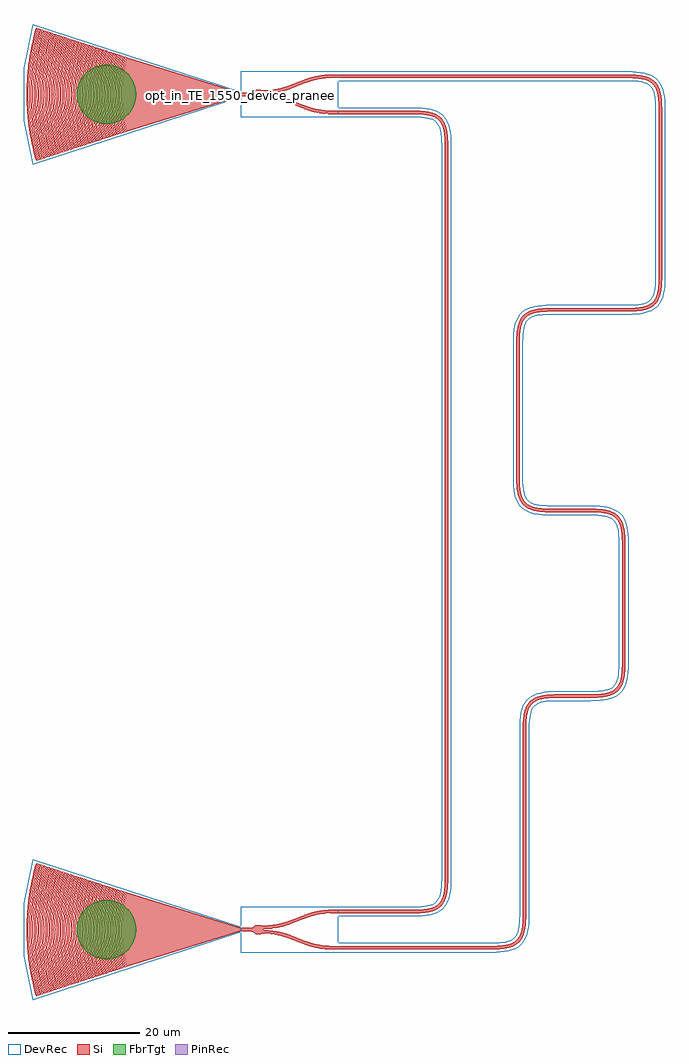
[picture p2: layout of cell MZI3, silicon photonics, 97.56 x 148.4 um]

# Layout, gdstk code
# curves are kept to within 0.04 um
import gdstk
lib = gdstk.Library(unit=1e-6, precision=1e-09)
def R(c, l, rs):  # rectangles x0, y0, x1, y1
    for r in rs: c.add(gdstk.rectangle(r[:2], r[2:], *l))
def P(c, l, *ps):  # polygons
    for p in ps: c.add(gdstk.Polygon(p, *l))
Si = (1, 0)
PinRec = (1, 10)
DevRec = (68, 0)
FbrTgt = (81, 0)

te1550_subgc_neg31_oxide = lib.new_cell('TE1550_SubGC_neg31_oxide')
P(te1550_subgc_neg31_oxide, Si, [(-17.556,-5.704),(-17.743,-4.914),(-17.881,-4.233),(-18.016,-3.437),(-18.095,-2.866),(-18.165,-2.237),(-18.222,-1.549),(-18.256,-0.918),(-18.274,-0.115),(-18.264,0.689),(-18.233,1.377),(-18.176,2.122),(-18.095,2.866),(-18.016,3.437),(-17.881,4.233),(-17.743,4.914),(-17.556,5.704),(-17.481,5.68),(-17.643,5.006),(-17.784,4.329),(-17.922,3.536),(-18.032,2.74),(-18.104,2.056),(-18.148,1.486),(-18.186,0.686),(-18.196,0.114),(-18.189,-0.572),(-18.165,-1.2),(-18.123,-1.828),(-18.058,-2.512),(-17.948,-3.365),(-17.826,-4.102),(-17.668,-4.893),(-17.481,-5.68)],
  [(-17.906,-5.818),(-18.207,-4.492),(-18.452,-2.982),(-18.601,-1.405),(-18.643,-0.117),(-18.601,1.405),(-18.452,2.982),(-18.207,4.492),(-17.906,5.818),(-17.659,5.738),(-17.932,4.544),(-18.188,2.998),(-18.338,1.443),(-18.383,0.116),(-18.338,-1.443),(-18.188,-2.998),(-17.932,-4.544),(-17.659,-5.738)],
  [(-18.084,-5.876),(-18.24,-5.237),(-18.4,-4.479),(-18.525,-3.776),(-18.629,-3.071),(-18.717,-2.305),(-18.772,-1.656),(-18.811,-0.946),(-18.83,-0.118),(-18.823,0.592),(-18.791,1.36),(-18.739,2.069),(-18.644,2.953),(-18.544,3.658),(-18.4,4.479),(-18.24,5.237),(-18.084,5.876),(-18.01,5.852),(-18.204,5.041),(-18.368,4.227),(-18.503,3.409),(-18.609,2.589),(-18.713,1.354),(-18.745,0.589),(-18.752,0.118),(-18.745,-0.589),(-18.713,-1.354),(-18.609,-2.589),(-18.503,-3.409),(-18.368,-4.227),(-18.204,-5.041),(-18.01,-5.852)],
  [(-18.435,-5.99),(-18.77,-4.506),(-19.001,-3.071),(-19.135,-1.748),(-19.199,-0.121),(-19.159,1.387),(-19.001,3.071),(-18.77,4.506),(-18.435,5.99),(-18.188,5.91),(-18.517,4.445),(-18.744,3.029),(-18.896,1.427),(-18.939,0.119),(-18.896,-1.427),(-18.759,-2.911),(-18.517,-4.445),(-18.188,-5.91)],
  [(-18.613,-6.048),(-18.815,-5.211),(-18.963,-4.49),(-19.099,-3.705),(-19.201,-2.979),(-19.269,-2.373),(-19.338,-1.522),(-19.369,-0.913),(-19.386,-0.122),(-19.377,0.67),(-19.349,1.339),(-19.286,2.191),(-19.201,2.979),(-19.099,3.705),(-18.963,4.49),(-18.815,5.211),(-18.613,6.048),(-18.539,6.024),(-18.713,5.309),(-18.876,4.532),(-19.013,3.751),(-19.131,2.907),(-19.203,2.242),(-19.264,1.455),(-19.291,0.91),(-19.308,0.121),(-19.299,-0.667),(-19.271,-1.334),(-19.239,-1.819),(-19.166,-2.605),(-19.076,-3.329),(-18.91,-4.352),(-18.753,-5.13),(-18.539,-6.024)],
  [(-18.964,-6.162),(-19.262,-4.881),(-19.533,-3.283),(-19.689,-1.799),(-19.755,-0.124),(-19.717,1.365),(-19.573,2.974),(-19.334,4.513),(-18.964,6.162),(-18.717,6.081),(-19.046,4.636),(-19.301,3.057),(-19.43,1.775),(-19.495,0.122),(-19.454,-1.408),(-19.301,-3.057),(-19.046,-4.636),(-18.717,-6.081)],
  [(-19.142,-6.22),(-19.337,-5.421),(-19.48,-4.742),(-19.625,-3.936),(-19.726,-3.251),(-19.808,-2.566),(-19.884,-1.691),(-19.924,-0.94),(-19.942,-0.125),(-19.934,0.626),(-19.9,1.44),(-19.833,2.316),(-19.758,3.002),(-19.635,3.874),(-19.516,4.556),(-19.337,5.421),(-19.142,6.22),(-19.068,6.195),(-19.289,5.277),(-19.44,4.538),(-19.587,3.673),(-19.696,2.866),(-19.772,2.12),(-19.822,1.435),(-19.853,0.749),(-19.864,0.125),(-19.853,-0.749),(-19.822,-1.435),(-19.772,-2.12),(-19.696,-2.866),(-19.587,-3.673),(-19.44,-4.538),(-19.289,-5.277),(-19.068,-6.195)],
  [(-19.493,-6.334),(-19.839,-4.829),(-20.107,-3.185),(-20.256,-1.658),(-20.311,-0.128),(-20.268,1.467),(-20.107,3.185),(-19.839,4.829),(-19.493,6.334),(-19.246,6.253),(-19.574,4.829),(-19.842,3.207),(-19.997,1.637),(-20.051,0.126),(-20.005,-1.511),(-19.866,-3.019),(-19.622,-4.581),(-19.246,-6.253)],
  [(-19.671,-6.391),(-19.843,-5.697),(-20.008,-4.937),(-20.149,-4.173),(-20.283,-3.278),(-20.379,-2.444),(-20.438,-1.738),(-20.482,-0.901),(-20.498,-0.129),(-20.482,0.901),(-20.438,1.738),(-20.379,2.444),(-20.283,3.278),(-20.149,4.173),(-20.008,4.937),(-19.843,5.697),(-19.671,6.391),(-19.597,6.367),(-19.797,5.55),(-20.005,4.538),(-20.153,3.648),(-20.246,2.946),(-20.325,2.179),(-20.373,1.539),(-20.404,0.898),(-20.42,0.128),(-20.412,-0.641),(-20.384,-1.347),(-20.336,-2.051),(-20.261,-2.819),(-20.153,-3.648),(-20.017,-4.474),(-19.825,-5.424),(-19.597,-6.367)],
  [(-20.022,-6.505),(-20.392,-4.896),(-20.656,-3.272),(-20.81,-1.704),(-20.867,-0.131),(-20.81,1.704),(-20.656,3.272),(-20.392,4.896),(-20.022,6.505),(-19.774,6.425),(-20.139,4.835),(-20.382,3.36),(-20.542,1.812),(-20.607,0.129),(-20.567,-1.424),(-20.399,-3.231),(-20.139,-4.835),(-19.774,-6.425)],
  [(-20.199,-6.563),(-20.437,-5.591),(-20.599,-4.809),(-20.726,-4.089),(-20.832,-3.367),(-20.931,-2.511),(-20.992,-1.785),(-21.04,-0.86),(-21.054,-0.132),(-21.044,0.728),(-21.001,1.653),(-20.931,2.511),(-20.849,3.235),(-20.726,4.089),(-20.599,4.809),(-20.437,5.591),(-20.199,6.563),(-20.125,6.539),(-20.347,5.635),(-20.523,4.791),(-20.67,3.943),(-20.804,2.961),(-20.878,2.239),(-20.923,1.647),(-20.962,0.857),(-20.976,0.132),(-20.966,-0.725),(-20.935,-1.449),(-20.878,-2.239),(-20.804,-2.961),(-20.67,-3.943),(-20.523,-4.791),(-20.347,-5.635),(-20.125,-6.539)],
  [(-20.55,-6.677),(-20.906,-5.158),(-21.205,-3.359),(-21.355,-1.883),(-21.423,-0.135),(-21.373,1.615),(-21.205,3.359),(-20.906,5.158),(-20.55,6.677),(-20.303,6.597),(-20.705,4.833),(-20.957,3.252),(-21.105,1.728),(-21.163,0.133),(-21.105,-1.728),(-20.957,-3.252),(-20.705,-4.833),(-20.303,-6.597)],
  [(-20.728,-6.735),(-20.912,-6.004),(-21.101,-5.136),(-21.249,-4.331),(-21.372,-3.523),(-21.483,-2.577),(-21.546,-1.832),(-21.593,-0.95),(-21.61,-0.136),(-21.593,0.95),(-21.555,1.696),(-21.483,2.577),(-21.39,3.388),(-21.249,4.331),(-21.101,5.136),(-20.912,6.004),(-20.728,6.735),(-20.654,6.711),(-20.868,5.85),(-21.025,5.118),(-21.195,4.181),(-21.33,3.241),(-21.412,2.5),(-21.473,1.758),(-21.515,0.947),(-21.532,0.135),(-21.525,-0.609),(-21.497,-1.352),(-21.448,-2.095),(-21.37,-2.904),(-21.237,-3.913),(-21.077,-4.85),(-20.868,-5.85),(-20.654,-6.711)],
  [(-21.079,-6.849),(-21.432,-5.359),(-21.736,-3.583),(-21.923,-1.725),(-21.979,-0.138),(-21.923,1.725),(-21.772,3.308),(-21.473,5.155),(-21.079,6.849),(-20.832,6.769),(-21.207,5.162),(-21.47,3.608),(-21.664,1.705),(-21.719,0.136),(-21.664,-1.705),(-21.515,-3.269),(-21.207,-5.162),(-20.832,-6.769)],
  [(-21.257,-6.907),(-21.494,-5.953),(-21.655,-5.199),(-21.817,-4.304),(-21.93,-3.544),(-22.042,-2.574),(-22.105,-1.81),(-22.146,-1.044),(-22.166,-0.139),(-22.159,0.627),(-22.114,1.67),(-22.042,2.574),(-21.957,3.336),(-21.817,4.304),(-21.655,5.199),(-21.494,5.953),(-21.257,6.907),(-21.183,6.883),(-21.419,5.932),(-21.606,5.044),(-21.773,4.083),(-21.888,3.256),(-21.971,2.495),(-22.036,1.665),(-22.073,0.902),(-22.088,0.139),(-22.081,-0.624),(-22.052,-1.387),(-22.001,-2.149),(-21.905,-3.117),(-21.773,-4.083),(-21.606,-5.044),(-21.419,-5.932),(-21.183,-6.883)],
  [(-21.608,-7.021),(-21.985,-5.425),(-22.294,-3.603),(-22.482,-1.698),(-22.535,-0.142),(-22.482,1.698),(-22.294,3.603),(-21.985,5.425),(-21.608,7.021),(-21.361,6.941),(-21.761,5.224),(-22.028,3.631),(-22.218,1.749),(-22.275,0.14),(-22.227,-1.609),(-22.073,-3.283),(-21.788,-5.086),(-21.361,-6.941)],
  [(-21.786,-7.079),(-21.964,-6.381),(-22.167,-5.469),(-22.302,-4.765),(-22.469,-3.704),(-22.565,-2.923),(-22.649,-1.997),(-22.704,-0.999),(-22.722,-0.143),(-22.713,0.714),(-22.677,1.57),(-22.601,2.567),(-22.488,3.562),(-22.374,4.341),(-22.195,5.329),(-22.03,6.101),(-21.786,7.079),(-21.712,7.055),(-21.922,6.22),(-22.161,5.1),(-22.308,4.256),(-22.447,3.267),(-22.53,2.487),(-22.586,1.778),(-22.626,0.996),(-22.644,0.142),(-22.635,-0.711),(-22.595,-1.635),(-22.53,-2.487),(-22.447,-3.267),(-22.308,-4.256),(-22.161,-5.1),(-21.922,-6.22),(-21.712,-7.055)],
  [(-22.137,-7.193),(-22.54,-5.486),(-22.843,-3.692),(-23.011,-2.102),(-23.091,-0.145),(-23.045,1.595),(-22.862,3.547),(-22.54,5.486),(-22.137,7.193),(-21.89,7.112),(-22.287,5.425),(-22.596,3.579),(-22.777,1.721),(-22.831,0.143),(-22.777,-1.721),(-22.596,-3.579),(-22.287,-5.425),(-21.89,-7.112)],
  [(-22.315,-7.25),(-22.549,-6.321),(-22.736,-5.458),(-22.895,-4.592),(-23.047,-3.576),(-23.139,-2.776),(-23.218,-1.827),(-23.262,-0.951),(-23.278,-0.146),(-23.262,0.951),(-23.218,1.827),(-23.139,2.776),(-23.047,3.576),(-22.895,4.592),(-22.736,5.458),(-22.549,6.321),(-22.315,7.25),(-22.24,7.226),(-22.457,6.372),(-22.646,5.512),(-22.843,4.432),(-22.979,3.492),(-23.076,2.621),(-23.145,1.748),(-23.184,0.947),(-23.2,0.146),(-23.194,-0.583),(-23.158,-1.53),(-23.102,-2.33),(-23.006,-3.274),(-22.899,-4.071),(-22.73,-5.081),(-22.507,-6.157),(-22.24,-7.226)],
  [(-22.666,-7.364),(-23.095,-5.545),(-23.392,-3.78),(-23.581,-1.93),(-23.647,-0.149),(-23.586,1.856),(-23.421,3.559),(-23.095,5.545),(-22.666,7.364),(-22.418,7.284),(-22.842,5.484),(-23.145,3.666),(-23.311,2.056),(-23.387,0.147),(-23.336,-1.689),(-23.145,-3.666),(-22.842,-5.484),(-22.418,-7.284)],
  [(-22.843,-7.422),(-23.067,-6.545),(-23.262,-5.662),(-23.441,-4.701),(-23.556,-3.959),(-23.691,-2.842),(-23.762,-2.02),(-23.815,-1.048),(-23.834,-0.15),(-23.82,0.898),(-23.782,1.721),(-23.713,2.618),(-23.606,3.587),(-23.441,4.701),(-23.277,5.588),(-23.067,6.545),(-22.843,7.422),(-22.769,7.398),(-22.992,6.523),(-23.201,5.57),(-23.389,4.538),(-23.538,3.501),(-23.642,2.535),(-23.704,1.716),(-23.742,0.895),(-23.756,0.149),(-23.742,-0.895),(-23.704,-1.716),(-23.642,-2.535),(-23.565,-3.278),(-23.401,-4.464),(-23.23,-5.423),(-22.992,-6.523),(-22.769,-7.398)],
  [(-23.194,-7.536),(-23.605,-5.824),(-23.951,-3.793),(-24.135,-1.976),(-24.203,-0.152),(-24.15,1.748),(-23.961,3.718),(-23.605,5.824),(-23.194,7.536),(-22.947,7.456),(-23.368,5.688),(-23.684,3.827),(-23.876,1.955),(-23.943,0.15),(-23.886,-1.804),(-23.704,-3.678),(-23.383,-5.614),(-22.947,-7.456)],
  [(-23.372,-7.594),(-23.602,-6.696),(-23.802,-5.793),(-23.96,-4.962),(-24.115,-3.975),(-24.219,-3.137),(-24.316,-2.067),(-24.373,-0.996),(-24.39,-0.153),(-24.373,0.996),(-24.316,2.067),(-24.219,3.137),(-24.115,3.975),(-23.96,4.962),(-23.802,5.793),(-23.602,6.696),(-23.372,7.594),(-23.298,7.57),(-23.562,6.525),(-23.801,5.399),(-23.971,4.417),(-24.088,3.583),(-24.188,2.67),(-24.249,1.908),(-24.295,0.993),(-24.312,0.153),(-24.3,-0.84),(-24.263,-1.68),(-24.195,-2.594),(-24.088,-3.583),(-23.971,-4.417),(-23.801,-5.399),(-23.562,-6.525),(-23.298,-7.57)],
  [(-23.723,-7.708),(-24.145,-5.957),(-24.479,-4.035),(-24.678,-2.176),(-24.759,-0.156),(-24.709,1.71),(-24.5,3.88),(-24.145,5.957),(-23.723,7.708),(-23.476,7.628),(-23.908,5.819),(-24.233,3.916),(-24.43,2),(-24.499,0.154),(-24.43,-2),(-24.233,-3.916),(-23.908,-5.819),(-23.476,-7.628)],
  [(-23.901,-7.766),(-24.137,-6.848),(-24.358,-5.848),(-24.518,-4.997),(-24.674,-3.987),(-24.779,-3.13),(-24.87,-2.115),(-24.916,-1.332),(-24.946,-0.157),(-24.931,0.94),(-24.891,1.802),(-24.803,2.896),(-24.695,3.832),(-24.531,4.92),(-24.358,5.848),(-24.137,6.848),(-23.901,7.766),(-23.827,7.742),(-24.098,6.674),(-24.313,5.676),(-24.493,4.672),(-24.638,3.665),(-24.733,2.809),(-24.803,1.952),(-24.848,1.094),(-24.868,0.156),(-24.858,-0.781),(-24.818,-1.718),(-24.733,-2.809),(-24.638,-3.665),(-24.493,-4.672),(-24.313,-5.676),(-24.098,-6.674),(-23.827,-7.742)],
  [(-24.252,-7.88),(-24.717,-5.934),(-25.049,-3.967),(-25.232,-2.225),(-25.315,-0.159),(-25.259,1.828),(-25.07,3.809),(-24.717,5.934),(-24.252,7.88),(-24.005,7.8),(-24.464,5.873),(-24.782,4.005),(-24.973,2.202),(-25.055,0.157),(-25.009,-1.652),(-24.803,-3.848),(-24.464,-5.873),(-24.005,-7.8)],
  [(-24.43,-7.938),(-24.709,-6.843),(-24.866,-6.135),(-25.049,-5.187),(-25.234,-3.997),(-25.339,-3.12),(-25.424,-2.162),(-25.478,-1.202),(-25.502,-0.16),(-25.489,0.881),(-25.435,2.002),(-25.339,3.12),(-25.234,3.997),(-25.049,5.187),(-24.866,6.135),(-24.709,6.843),(-24.43,7.938),(-24.356,7.914),(-24.634,6.822),(-24.839,5.881),(-25,5.014),(-25.178,3.826),(-25.278,2.952),(-25.352,2.075),(-25.397,1.278),(-25.424,0.16),(-25.409,-0.958),(-25.377,-1.677),(-25.293,-2.792),(-25.198,-3.667),(-25.052,-4.697),(-24.839,-5.881),(-24.634,-6.822),(-24.356,-7.914)],
  [(-24.781,-8.052),(-25.241,-6.144),(-25.576,-4.216),(-25.803,-2.031),(-25.871,-0.163),(-25.803,2.031),(-25.609,3.974),(-25.274,5.984),(-24.781,8.052),(-24.533,7.971),(-24.972,6.161),(-25.308,4.253),(-25.544,2.01),(-25.611,0.161),(-25.544,-2.01),(-25.352,-3.934),(-25.021,-5.924),(-24.533,-7.971)],
  [(-24.959,-8.11),(-25.187,-7.232),(-25.423,-6.188),(-25.635,-5.057),(-25.772,-4.165),(-25.891,-3.188),(-25.984,-2.127),(-26.03,-1.31),(-26.058,-0.164),(-26.045,0.9),(-25.995,1.964),(-25.891,3.188),(-25.794,4.002),(-25.635,5.057),(-25.423,6.188),(-25.187,7.232),(-24.959,8.11),(-24.884,8.085),(-25.15,7.051),(-25.38,6.009),(-25.572,4.961),(-25.738,3.828),(-25.846,2.853),(-25.917,1.958),(-25.967,0.898),(-25.98,0.163),(-25.967,-0.898),(-25.932,-1.713),(-25.868,-2.609),(-25.768,-3.585),(-25.624,-4.638),(-25.412,-5.848),(-25.207,-6.811),(-24.884,-8.085)],
  [(-25.31,-8.224),(-25.815,-6.112),(-26.136,-4.224),(-26.357,-2.074),(-26.427,-0.166),(-26.368,1.909),(-26.18,3.894),(-25.815,6.112),(-25.31,8.224),(-25.062,8.143),(-25.512,6.295),(-25.868,4.264),(-26.098,2.054),(-26.167,0.164),(-26.123,-1.644),(-25.923,-3.856),(-25.562,-6.052),(-25.062,-8.143)],
  [(-25.487,-8.281),(-25.761,-7.222),(-25.946,-6.402),(-26.152,-5.33),(-26.321,-4.254),(-26.451,-3.173),(-26.532,-2.256),(-26.589,-1.254),(-26.614,-0.167),(-26.598,1.003),(-26.538,2.172),(-26.451,3.173),(-26.321,4.254),(-26.152,5.33),(-25.946,6.402),(-25.761,7.222),(-25.487,8.281),(-25.413,8.257),(-25.686,7.201),(-25.921,6.137),(-26.118,5.067),(-26.288,3.91),(-26.374,3.164),(-26.466,2.083),(-26.511,1.25),(-26.536,0.167),(-26.525,-0.834),(-26.482,-1.833),(-26.406,-2.831),(-26.288,-3.91),(-26.118,-5.067),(-25.921,-6.137),(-25.686,-7.201),(-25.413,-8.257)],
  [(-25.838,-8.395),(-26.339,-6.323),(-26.685,-4.312),(-26.887,-2.456),(-26.983,-0.17),(-26.917,2.033),(-26.708,4.144),(-26.356,6.24),(-25.838,8.395),(-25.591,8.315),(-26.086,6.263),(-26.44,4.188),(-26.658,2.014),(-26.723,0.168),(-26.658,-2.014),(-26.44,-4.188),(-26.086,-6.263),(-25.591,-8.315)],
  [(-26.016,-8.453),(-26.256,-7.539),(-26.503,-6.451),(-26.697,-5.441),(-26.858,-4.427),(-26.976,-3.494),(-27.086,-2.303),(-27.144,-1.28),(-27.17,-0.085),(-27.156,0.939),(-27.098,2.133),(-27.012,3.154),(-26.893,4.173),(-26.726,5.272),(-26.538,6.283),(-26.256,7.539),(-26.016,8.453),(-25.942,8.429),(-26.261,7.184),(-26.479,6.181),(-26.664,5.173),(-26.838,3.992),(-26.943,3.06),(-27.026,2.042),(-27.078,0.936),(-27.092,0.085),(-27.078,-0.936),(-27.026,-2.042),(-26.943,-3.06),(-26.838,-3.992),(-26.664,-5.173),(-26.479,-6.181),(-26.261,-7.184),(-25.942,-8.429)],
  [(-26.367,-8.567),(-26.897,-6.368),(-27.246,-4.315),(-27.466,-2.162),(-27.539,-0.087),(-27.466,2.162),(-27.246,4.315),(-26.897,6.368),(-26.367,8.567),(-26.12,8.487),(-26.644,6.308),(-26.989,4.275),(-27.218,1.97),(-27.279,0.086),(-27.218,-1.97),(-26.989,-4.275),(-26.644,-6.308),(-26.12,-8.487)],
  [(-26.545,-8.625),(-26.832,-7.522),(-27.079,-6.411),(-27.286,-5.294),(-27.442,-4.258),(-27.573,-3.132),(-27.658,-2.089),(-27.712,-0.958),(-27.726,-0.087),(-27.712,0.958),(-27.658,2.089),(-27.573,3.132),(-27.442,4.258),(-27.286,5.294),(-27.079,6.411),(-26.832,7.522),(-26.545,8.625),(-26.471,8.601),(-26.777,7.416),(-27.003,6.393),(-27.195,5.365),(-27.365,4.246),(-27.487,3.209),(-27.586,1.997),(-27.634,0.955),(-27.648,0.087),(-27.634,-0.955),(-27.586,-1.997),(-27.52,-2.863),(-27.42,-3.815),(-27.265,-4.935),(-27.071,-6.051),(-26.817,-7.246),(-26.63,-8.01),(-26.471,-8.601)],
  [(-26.896,-8.739),(-27.402,-6.67),(-27.783,-4.49),(-28.014,-2.293),(-28.095,-0.088),(-28.026,2.117),(-27.807,4.315),(-27.438,6.496),(-26.896,8.739),(-26.649,8.659),(-27.185,6.436),(-27.55,4.275),(-27.761,2.185),(-27.835,0.087),(-27.761,-2.185),(-27.55,-4.275),(-27.185,-6.436),(-26.649,-8.659)],
  [(-27.074,-8.797),(-27.346,-7.759),(-27.602,-6.627),(-27.802,-5.576),(-27.955,-4.608),(-28.098,-3.46),(-28.194,-2.397),(-28.255,-1.332),(-28.282,-0.089),(-28.265,1.066),(-28.218,2.042),(-28.134,3.106),(-28.015,4.167),(-27.832,5.4),(-27.62,6.539),(-27.346,7.759),(-27.074,8.797),(-27,8.773),(-27.292,7.651),(-27.544,6.521),(-27.77,5.297),(-27.949,4.067),(-28.048,3.186),(-28.129,2.214),(-28.184,1.152),(-28.204,0.089),(-28.187,-1.063),(-28.146,-1.948),(-28.073,-2.921),(-27.949,-4.067),(-27.77,-5.297),(-27.544,-6.521),(-27.292,-7.651),(-27,-8.773)],
  [(-27.425,-8.911),(-27.979,-6.624),(-28.344,-4.489),(-28.568,-2.339),(-28.651,-0.09),(-28.568,2.339),(-28.344,4.489),(-27.979,6.624),(-27.425,8.911),(-27.177,8.83),(-27.708,6.652),(-28.075,4.537),(-28.309,2.317),(-28.391,0.089),(-28.309,-2.317),(-28.075,-4.537),(-27.708,-6.652),(-27.177,-8.83)],
  [(-27.603,-8.969),(-27.881,-7.91),(-28.124,-6.845),(-28.347,-5.685),(-28.529,-4.518),(-28.678,-3.257),(-28.761,-2.264),(-28.814,-1.268),(-28.838,-0.091),(-28.826,0.906),(-28.761,2.264),(-28.678,3.257),(-28.529,4.518),(-28.347,5.685),(-28.124,6.845),(-27.881,7.91),(-27.603,8.969),(-27.528,8.944),(-27.806,7.889),(-28.085,6.649),(-28.316,5.402),(-28.476,4.327),(-28.582,3.428),(-28.677,2.348),(-28.736,1.265),(-28.76,0.09),(-28.748,-0.903),(-28.695,-2.077),(-28.609,-3.158),(-28.499,-4.147),(-28.331,-5.312),(-28.121,-6.472),(-27.87,-7.624),(-27.528,-8.944)],
  [(-27.953,-9.083),(-28.52,-6.752),(-28.893,-4.576),(-29.135,-2.201),(-29.207,-0.092),(-29.135,2.201),(-28.918,4.394),(-28.52,6.752),(-27.953,9.083),(-27.706,9.002),(-28.23,6.871),(-28.624,4.626),(-28.863,2.363),(-28.947,0.091),(-28.887,-2),(-28.649,-4.445),(-28.23,-6.871),(-27.706,-9.002)],
  [(-28.131,-9.14),(-28.416,-8.062),(-28.645,-7.068),(-28.86,-5.977),(-29.078,-4.605),(-29.221,-3.412),(-29.315,-2.307),(-29.373,-1.2),(-29.394,-0.092),(-29.373,1.2),(-29.315,2.307),(-29.221,3.412),(-29.078,4.605),(-28.86,5.977),(-28.645,7.068),(-28.416,8.062),(-28.131,9.14),(-28.057,9.116),(-28.363,7.951),(-28.663,6.596),(-28.892,5.323),(-29.061,4.136),(-29.179,3.036),(-29.255,2.025),(-29.301,1.013),(-29.316,0.092),(-29.301,-1.013),(-29.255,-2.025),(-29.179,-3.036),(-29.061,-4.136),(-28.892,-5.323),(-28.663,-6.596),(-28.363,-7.951),(-28.057,-9.116)],
  [(-28.482,-9.254),(-29.003,-7.156),(-29.416,-4.849),(-29.683,-2.336),(-29.763,-0.094),(-29.683,2.336),(-29.455,4.57),(-29.042,6.972),(-28.482,9.254),(-28.235,9.174),(-28.77,7.003),(-29.173,4.714),(-29.424,2.316),(-29.503,0.093),(-29.424,-2.316),(-29.173,-4.714),(-28.77,-7.003),(-28.235,-9.174)],
  [(-28.66,-9.312),(-28.928,-8.306),(-29.224,-7.016),(-29.421,-5.996),(-29.601,-4.879),(-29.733,-3.851),(-29.863,-2.445),(-29.925,-1.317),(-29.95,-0.094),(-29.937,0.941),(-29.882,2.163),(-29.792,3.289),(-29.64,4.599),(-29.437,5.904),(-29.224,7.016),(-28.928,8.306),(-28.66,9.312),(-28.586,9.288),(-28.898,8.101),(-29.148,6.998),(-29.393,5.703),(-29.563,4.587),(-29.696,3.467),(-29.798,2.251),(-29.847,1.314),(-29.872,0.094),(-29.862,-0.845),(-29.798,-2.251),(-29.696,-3.467),(-29.563,-4.587),(-29.393,-5.703),(-29.148,-6.998),(-28.898,-8.101),(-28.586,-9.288)],
  [(-29.011,-9.426),(-29.563,-7.196),(-29.965,-4.939),(-30.237,-2.38),(-30.319,-0.095),(-30.25,2.19),(-30.017,4.561),(-29.602,7.008),(-29.011,9.426),(-28.764,9.346),(-29.33,7.041),(-29.735,4.709),(-29.978,2.359),(-30.059,0.094),(-29.978,-2.359),(-29.735,-4.709),(-29.33,-7.041),(-28.764,-9.346)],
  [(-29.189,-9.484),(-29.554,-8.085),(-29.784,-7.052),(-29.999,-5.918),(-30.163,-4.874),(-30.295,-3.827),(-30.417,-2.49),(-30.484,-1.246),(-30.506,-0.096),(-30.484,1.246),(-30.417,2.49),(-30.295,3.827),(-30.163,4.874),(-29.999,5.918),(-29.784,7.052),(-29.554,8.085),(-29.189,9.484),(-29.115,9.46),(-29.456,8.158),(-29.708,7.034),(-29.97,5.62),(-30.125,4.577),(-30.248,3.532),(-30.346,2.388),(-30.406,1.242),(-30.428,0.096),(-30.406,-1.242),(-30.346,-2.388),(-30.248,-3.532),(-30.125,-4.577),(-29.97,-5.62),(-29.708,-7.034),(-29.456,-8.158),(-29.115,-9.46)],
  [(-29.54,-9.598),(-30.143,-7.137),(-30.554,-4.741),(-30.798,-2.327),(-30.875,-0.097),(-30.798,2.327),(-30.554,4.741),(-30.143,7.137),(-29.54,9.598),(-29.293,9.518),(-29.89,7.077),(-30.284,4.796),(-30.539,2.307),(-30.615,0.096),(-30.539,-2.307),(-30.284,-4.796),(-29.89,-7.077),(-29.293,-9.518)],
  [(-29.718,-9.656),(-29.997,-8.613),(-30.285,-7.371),(-30.493,-6.315),(-30.712,-4.963),(-30.857,-3.8),(-30.964,-2.633),(-31.036,-1.366),(-31.062,-0.098),(-31.046,1.073),(-30.991,2.243),(-30.897,3.411),(-30.752,4.673),(-30.561,5.929),(-30.345,7.084),(-30.044,8.422),(-29.718,9.656),(-29.643,9.632),(-29.969,8.401),(-30.269,7.066),(-30.501,5.818),(-30.7,4.468),(-30.829,3.306),(-30.907,2.335),(-30.965,1.168),(-30.984,0.097),(-30.965,-1.168),(-30.907,-2.335),(-30.829,-3.306),(-30.7,-4.468),(-30.501,-5.818),(-30.269,-7.066),(-29.969,-8.401),(-29.643,-9.632)],
  [(-30.069,-9.77),(-30.664,-7.362),(-31.09,-4.924),(-31.346,-2.467),(-31.431,-0.099),(-31.346,2.467),(-31.09,4.924),(-30.664,7.362),(-30.069,9.77),(-29.821,9.69),(-30.411,7.301),(-30.833,4.883),(-31.093,2.349),(-31.171,0.098),(-31.093,-2.349),(-30.833,-4.883),(-30.411,-7.301),(-29.821,-9.69)],
  [(-30.246,-9.828),(-30.603,-8.475),(-30.866,-7.308),(-31.107,-6.035),(-31.288,-4.855),(-31.43,-3.67),(-31.539,-2.382),(-31.595,-1.291),(-31.618,-0.099),(-31.595,1.291),(-31.539,2.382),(-31.43,3.67),(-31.288,4.855),(-31.107,6.035),(-30.866,7.308),(-30.603,8.475),(-30.246,9.828),(-30.172,9.804),(-30.528,8.455),(-30.77,7.387),(-30.907,6.705),(-31.047,5.922),(-31.211,4.843),(-31.342,3.759),(-31.461,2.377),(-31.517,1.288),(-31.54,0.099),(-31.529,-0.892),(-31.474,-2.179),(-31.391,-3.266),(-31.25,-4.548),(-31.047,-5.922),(-30.83,-7.095),(-30.528,-8.455),(-30.172,-9.804)],
  [(-30.597,-9.942),(-31.225,-7.393),(-31.625,-5.111),(-31.893,-2.611),(-31.987,-0.1),(-31.907,2.41),(-31.653,4.911),(-31.225,7.393),(-30.597,9.942),(-30.35,9.861),(-30.931,7.529),(-31.396,4.872),(-31.641,2.49),(-31.727,0.1),(-31.641,-2.49),(-31.396,-4.872),(-30.931,-7.529),(-30.35,-9.861)],
  [(-30.775,-9.999),(-31.09,-8.821),(-31.344,-7.734),(-31.564,-6.64),(-31.795,-5.241),(-31.95,-4.036),(-32.072,-2.727),(-32.129,-1.819),(-32.154,-1.213),(-32.174,-0.101),(-32.154,1.213),(-32.1,2.323),(-32.012,3.432),(-31.851,4.84),(-31.686,5.941),(-31.428,7.337),(-31.139,8.624),(-30.775,9.999),(-30.701,9.975),(-31.015,8.8),(-31.18,8.11),(-31.352,7.319),(-31.593,6.027),(-31.774,4.828),(-31.915,3.625),(-32.009,2.519),(-32.069,1.411),(-32.096,0.101),(-32.076,-1.21),(-32.009,-2.519),(-31.915,-3.625),(-31.774,-4.828),(-31.593,-6.027),(-31.352,-7.319),(-31.18,-8.11),(-31.015,-8.8),(-30.701,-9.975)],
  [(-31.126,-10.114),(-31.724,-7.722),(-32.174,-5.199),(-32.447,-2.656),(-32.543,-0.102),(-32.519,1.329),(-32.447,2.656),(-32.174,5.199),(-31.724,7.722),(-31.126,10.114),(-30.879,10.033),(-31.471,7.66),(-31.917,5.158),(-32.188,2.635),(-32.283,0.101),(-32.202,-2.433),(-31.959,-4.856),(-31.534,-7.361),(-31.244,-8.653),(-30.879,-10.033)],
  [(-17.378,-5.646),(-17.678,-4.303),(-17.903,-2.893),(-18.043,-1.42),(-18.087,-0.114),(-18.05,1.306),(-17.924,2.724),(-17.678,4.303),(-17.378,5.646),(0,0.25),(0,-0.25)])
te1550_subgc_neg31_oxide.add(gdstk.Label('Ref: Yun Wang, Optics Express, 08/2014', (-33,0), layer=10, texttype=0))
te1550_subgc_neg31_oxide.add(gdstk.Label('http://dx.doi.org/10.1364/OE.22.020652', (-33,-2), layer=10, texttype=0))
te1550_subgc_neg31_oxide.add(gdstk.Label('TE 1550 -31 deg', (-33,2), layer=10, texttype=0))

ebeam_gc_te1550 = lib.new_cell('ebeam_gc_te1550')
R(ebeam_gc_te1550, Si, [(-0.001,-0.001,0.001,0.001)])
P(ebeam_gc_te1550, DevRec, [(-31.6,-10.7),(-33,-4),(-33,4),(-31.6,10.7),(0,0.4),(0,-0.4)])
P(ebeam_gc_te1550, FbrTgt, [(-20.621,-4.5),(-21.495,-4.37),(-22.326,-4.073),(-23.084,-3.619),(-23.738,-3.026),(-24.264,-2.316),(-24.642,-1.518),(-24.857,-0.661),(-24.9,0.221),(-24.77,1.095),(-24.473,1.926),(-24.019,2.684),(-23.426,3.338),(-22.716,3.864),(-21.918,4.242),(-21.061,4.457),(-20.179,4.5),(-19.305,4.37),(-18.474,4.073),(-17.716,3.619),(-17.062,3.026),(-16.536,2.316),(-16.158,1.518),(-15.943,0.661),(-15.9,-0.221),(-16.03,-1.095),(-16.327,-1.926),(-16.781,-2.684),(-17.374,-3.338),(-18.084,-3.864),(-18.882,-4.242),(-19.739,-4.457)])
ebeam_gc_te1550.add(gdstk.FlexPath([(-0.05,0),(0.05,0)], 0.5, ends="flush", simple_path=True, layer=1, datatype=10))  # PinRec
ebeam_gc_te1550.add(gdstk.Reference(te1550_subgc_neg31_oxide, (0,0)))
ebeam_gc_te1550.add(gdstk.Label('opt1', (0,0), layer=1, texttype=10))
ebeam_gc_te1550.add(gdstk.Label('Component=ebeam_gc_te1550', (-28,-5), layer=68, texttype=0))
ebeam_gc_te1550.add(gdstk.Label('Lumerical_INTERCONNECT_library=Design kits/ebeam', (-29,-7), layer=68, texttype=0))

ebeam_y_1550 = lib.new_cell('ebeam_y_1550')
R(ebeam_y_1550, Si, [(6.5,-3,7.4,-2.5), (-7.4,-0.25,-6,0.25), (6.5,2.5,7.4,3)])
P(ebeam_y_1550, Si, [(6.458,-3),(6.237,-2.997),(6.237,-2.497),(6.5,-2.5),(6.5,-3)],
  [(5.033,-2.908),(3.59,-2.634),(2.265,-2.21),(2.445,-1.744),(3.731,-2.154),(5.033,-2.404)],
  [(6.233,-2.997),(5.033,-2.908),(5.033,-2.404),(6.237,-2.497)],
  [(2.265,-2.21),(0.055,-1.356),(0.235,-0.89),(2.445,-1.744)],
  [(-0.762,-1.076),(-2.334,-0.724),(-4,-0.6),(-4,-0.1),(-2.381,-0.212),(-0.762,-0.555)],
  [(0.055,-1.356),(-0.762,-1.076),(-0.762,-0.555),(0.235,-0.89)],
  [(6.237,2.497),(6.237,2.997),(6.5,3),(6.5,2.5)],
  [(2.445,1.744),(2.267,2.211),(3.59,2.634),(5.033,2.908),(5.033,2.404),(3.731,2.154)],
  [(5.033,2.404),(5.033,2.908),(6.237,2.997),(6.237,2.497)],
  [(0.235,0.89),(0.055,1.356),(2.265,2.21),(2.445,1.744)],
  [(-4,0.1),(-4,0.6),(-2.334,0.724),(-0.762,1.076),(-0.762,0.555),(-2.381,0.212)],
  [(-0.762,0.555),(-0.762,1.076),(0.055,1.356),(0.235,0.89)],
  [(-5.122,-0.662),(-5.442,-0.374),(-5.808,-0.255),(-6,-0.25),(-6,0.25),(-5.817,0.253),(-5.442,0.374),(-5.122,0.662)],
  [(-4.957,-0.703),(-5.122,-0.662),(-5.122,0.662),(-4.538,0.703),(-4,0.6),(-4,-0.6),(-4.509,-0.701)])
R(ebeam_y_1550, DevRec, [(-7.4,-3.5,7.4,3.5)])
ebeam_y_1550.add(gdstk.FlexPath([(-7.35,0),(-7.45,0)], 0.5, ends="flush", simple_path=True, layer=1, datatype=10))  # PinRec
ebeam_y_1550.add(gdstk.FlexPath([(7.35,2.75),(7.45,2.75)], 0.5, ends="flush", simple_path=True, layer=1, datatype=10))  # PinRec
ebeam_y_1550.add(gdstk.FlexPath([(7.35,-2.75),(7.45,-2.75)], 0.5, ends="flush", simple_path=True, layer=1, datatype=10))  # PinRec
ebeam_y_1550.add(gdstk.Label('Ref: Y Zhang, Opt. Express, 21/1, 2013', (-7.5,-1), layer=10, texttype=0))
ebeam_y_1550.add(gdstk.Label('opt2', (7.4,2.75), layer=1, texttype=10))
ebeam_y_1550.add(gdstk.Label('opt3', (7.4,-2.75), layer=1, texttype=10))
ebeam_y_1550.add(gdstk.Label('opt1', (-7.4,0), layer=1, texttype=10))
ebeam_y_1550.add(gdstk.Label('Component=ebeam_y_1550', (-6,1.5), layer=68, texttype=0))
ebeam_y_1550.add(gdstk.Label('Lumerical_INTERCONNECT_library=Design kits/ebeam', (-6.86,-2.19), layer=68, texttype=0))

waveguide_4 = lib.new_cell('Waveguide$4')
P(waveguide_4, Si, [(-252.35,68.37),(-252.35,68.87),(-240.653,68.872),(-239.484,68.924),(-238.528,69.066),(-237.566,69.411),(-237.202,69.655),(-236.904,69.953),(-236.464,70.756),(-236.191,72.061),(-236.12,73.62),(-236.12,185.12),(-236.233,187.01),(-236.51,188.102),(-236.974,188.867),(-237.377,189.214),(-237.777,189.434),(-238.826,189.733),(-240.653,189.869),(-252.35,189.87),(-252.35,190.37),(-240.649,190.369),(-239.257,190.297),(-238.267,190.126),(-237.573,189.89),(-236.99,189.553),(-236.519,189.104),(-236.16,188.543),(-235.865,187.724),(-235.715,186.911),(-235.63,185.768),(-235.62,73.62),(-235.693,72.007),(-235.827,71.171),(-235.994,70.588),(-236.222,70.077),(-236.518,69.637),(-236.886,69.269),(-237.326,68.973),(-237.837,68.745),(-238.42,68.578),(-239.256,68.444),(-240.432,68.375)])
P(waveguide_4, DevRec, [(-252.35,67.87),(-252.35,69.37),(-240.22,69.381),(-239.125,69.468),(-238.294,69.646),(-237.711,69.906),(-237.494,70.063),(-237.155,70.462),(-236.795,71.427),(-236.662,72.39),(-236.62,73.62),(-236.62,185.12),(-236.718,186.865),(-236.896,187.696),(-237.016,188.016),(-237.313,188.496),(-237.495,188.678),(-237.975,188.975),(-239.126,189.273),(-240.871,189.37),(-252.35,189.37),(-252.35,190.87),(-240.869,190.87),(-239.52,190.824),(-238.361,190.661),(-237.361,190.343),(-236.521,189.818),(-236.173,189.47),(-235.882,189.071),(-235.466,188.148),(-235.232,187.073),(-235.131,185.822),(-235.12,73.62),(-235.166,72.27),(-235.329,71.111),(-235.465,70.593),(-235.881,69.67),(-236.172,69.271),(-236.919,68.632),(-237.36,68.398),(-238.36,68.08),(-239.519,67.917),(-240.857,67.87)])
waveguide_4.add(gdstk.FlexPath([(-252.3,190.12),(-252.4,190.12)], 0.5, ends="flush", simple_path=True, layer=1, datatype=10))  # PinRec
waveguide_4.add(gdstk.FlexPath([(-252.3,68.62),(-252.4,68.62)], 0.5, ends="flush", simple_path=True, layer=1, datatype=10))  # PinRec
waveguide_4.add(gdstk.Label('pin1', (-252.35,190.12), layer=1, texttype=10))
waveguide_4.add(gdstk.Label('pin2', (-252.35,68.62), layer=1, texttype=10))
waveguide_4.add(gdstk.Label('cellName=Waveguide', (-252.35,190.32), layer=68, texttype=0))
waveguide_4.add(gdstk.Label('Lumerical_INTERCONNECT_library=Design kits/EBeam', (-252.35,190.02), layer=68, texttype=0))
waveguide_4.add(gdstk.Label('Component=ebeam_wg_integral_1550', (-252.35,190.22), layer=68, texttype=0))
waveguide_4.add(gdstk.Label('Spice_param:wg_length=151.357u wg_width=0.500u points="[[-252.35,190.12],[-235.87,190.12],[-235.87,68.62],[-252.35,68.62]]" radius=5.0', (-252.35,190.12), layer=68, texttype=0))
waveguide_4.add(gdstk.Label('Length=151.357u', (-252.35,189.92), layer=68, texttype=0))

waveguide_7 = lib.new_cell('Waveguide$7')
P(waveguide_7, Si, [(15.235,-66.23),(15.235,-65.73),(39.782,-65.691),(40.917,-65.534),(41.776,-65.242),(42.398,-64.803),(42.838,-64.18),(43.022,-63.721),(43.188,-63.024),(43.321,-61.407),(43.325,-32.717),(43.381,-31.288),(43.57,-30.116),(43.928,-29.176),(44.398,-28.543),(45.032,-28.072),(45.825,-27.754),(46.612,-27.588),(47.724,-27.487),(54.093,-27.465),(55.555,-27.357),(56.407,-27.166),(56.969,-26.929),(57.488,-26.543),(57.875,-26.023),(58.071,-25.584),(58.25,-24.916),(58.406,-23.351),(58.415,-4.5),(58.324,-2.771),(58.07,-1.635),(57.874,-1.196),(57.561,-0.753),(57.158,-0.406),(56.758,-0.186),(55.861,0.085),(54.494,0.233),(47.157,0.255),(45.464,0.396),(44.562,0.625),(43.823,0.991),(43.328,1.418),(42.884,2.078),(42.672,2.607),(42.49,3.37),(42.346,5.279),(42.345,26.013),(42.401,27.442),(42.553,28.46),(42.72,29.043),(42.948,29.554),(43.513,30.277),(43.935,30.591),(44.428,30.835),(45.632,31.142),(47.374,31.259),(59.877,31.27),(61.135,31.373),(62.11,31.605),(62.549,31.801),(62.992,32.114),(63.339,32.517),(63.559,32.917),(63.767,33.531),(63.883,34.121),(63.995,36.01),(63.977,62.35),(63.857,63.565),(63.605,64.502),(63.21,65.188),(62.645,65.673),(62.109,65.926),(61.441,66.105),(59.672,66.266),(15.235,66.27),(15.235,66.77),(59.466,66.769),(61.035,66.676),(62.277,66.396),(62.788,66.168),(63.228,65.872),(63.596,65.504),(63.892,65.064),(64.12,64.553),(64.287,63.97),(64.477,62.372),(64.491,35.573),(64.35,33.88),(64.168,33.117),(63.956,32.588),(63.422,31.833),(62.789,31.363),(61.996,31.045),(60.859,30.834),(59.248,30.76),(47.168,30.756),(45.867,30.67),(44.983,30.496),(44.502,30.324),(44.013,30.041),(43.63,29.678),(43.386,29.314),(43.041,28.352),(42.863,26.84),(42.849,5.073),(43.01,3.304),(43.189,2.636),(43.385,2.197),(43.772,1.677),(44.291,1.291),(44.982,1.015),(45.866,0.841),(47.378,0.752),(54.312,0.741),(55.455,0.656),(56.268,0.506),(57.208,0.148),(57.842,-0.323),(58.312,-0.956),(58.63,-1.749),(58.841,-2.886),(58.913,-4.277),(58.915,-22.72),(58.821,-24.51),(58.541,-25.752),(58.175,-26.491),(57.748,-26.986),(57.209,-27.367),(56.416,-27.685),(55.629,-27.851),(54.517,-27.952),(48.148,-27.974),(46.531,-28.107),(45.711,-28.314),(45.082,-28.626),(44.61,-29.052),(44.215,-29.738),(43.938,-30.83),(43.827,-32.503),(43.808,-61.831),(43.707,-62.943),(43.498,-63.873),(43.156,-64.64),(42.658,-65.246),(42.119,-65.627),(41.326,-65.945),(40.366,-66.135),(39.223,-66.22)])
P(waveguide_7, DevRec, [(15.235,-66.73),(15.235,-65.23),(39.225,-65.219),(40.32,-65.132),(41.471,-64.834),(41.951,-64.537),(42.133,-64.355),(42.43,-63.875),(42.728,-62.724),(42.815,-61.629),(42.825,-32.707),(42.872,-31.369),(43.035,-30.21),(43.353,-29.21),(43.878,-28.37),(44.625,-27.731),(45.548,-27.315),(46.623,-27.081),(47.874,-26.98),(53.665,-26.97),(55.41,-26.872),(56.561,-26.574),(57.041,-26.277),(57.38,-25.878),(57.74,-24.913),(57.905,-23.369),(57.915,-4.5),(57.817,-2.755),(57.639,-1.924),(57.519,-1.604),(57.222,-1.124),(57.04,-0.942),(56.56,-0.645),(55.409,-0.347),(54.314,-0.26),(46.893,-0.239),(45.085,-0.04),(44.085,0.278),(43.245,0.803),(42.897,1.151),(42.372,1.991),(42.19,2.473),(41.956,3.548),(41.845,5.5),(41.845,26.023),(41.892,27.361),(42.055,28.52),(42.373,29.52),(42.898,30.36),(43.645,30.999),(44.086,31.233),(45.086,31.551),(46.894,31.75),(59.895,31.771),(60.99,31.858),(61.821,32.036),(62.141,32.156),(62.621,32.453),(62.803,32.635),(63.1,33.115),(63.398,34.266),(63.495,36.01),(63.484,62.17),(63.397,63.265),(63.219,64.096),(62.959,64.679),(62.802,64.896),(62.403,65.235),(61.82,65.495),(60.989,65.673),(59.245,65.77),(15.235,65.77),(15.235,67.27),(59.245,67.27),(61.197,67.159),(62.272,66.925),(63.195,66.509),(63.594,66.218),(64.233,65.471),(64.649,64.548),(64.785,64.03),(64.948,62.871),(64.995,61.533),(64.985,35.309),(64.786,33.501),(64.468,32.501),(63.943,31.661),(63.196,31.022),(62.273,30.606),(61.198,30.372),(59.258,30.26),(46.946,30.25),(45.851,30.163),(45.02,29.985),(44.7,29.865),(44.22,29.568),(44.038,29.386),(43.741,28.906),(43.443,27.755),(43.356,26.66),(43.355,4.851),(43.52,3.307),(43.88,2.342),(44.219,1.943),(44.699,1.646),(45.401,1.426),(46.364,1.293),(54.366,1.24),(56.174,1.041),(57.174,0.723),(58.014,0.198),(58.653,-0.549),(59.069,-1.472),(59.303,-2.547),(59.415,-4.487),(59.405,-23.421),(59.304,-24.672),(59.07,-25.747),(58.654,-26.67),(58.363,-27.069),(57.616,-27.708),(56.693,-28.124),(55.618,-28.358),(54.367,-28.459),(48.576,-28.47),(46.831,-28.567),(46,-28.745),(45.417,-29.005),(45.018,-29.344),(44.721,-29.824),(44.423,-30.975),(44.325,-32.72),(44.315,-61.681),(44.214,-62.932),(43.98,-64.007),(43.564,-64.93),(42.925,-65.677),(42.526,-65.968),(41.603,-66.384),(40.528,-66.618),(39.277,-66.719)])
waveguide_7.add(gdstk.FlexPath([(15.285,66.52),(15.185,66.52)], 0.5, ends="flush", simple_path=True, layer=1, datatype=10))  # PinRec
waveguide_7.add(gdstk.FlexPath([(15.285,-65.98),(15.185,-65.98)], 0.5, ends="flush", simple_path=True, layer=1, datatype=10))  # PinRec
waveguide_7.add(gdstk.Label('pin1', (15.235,66.52), layer=1, texttype=10))
waveguide_7.add(gdstk.Label('pin2', (15.235,-65.98), layer=1, texttype=10))
waveguide_7.add(gdstk.Label('cellName=Waveguide', (15.235,66.72), layer=68, texttype=0))
waveguide_7.add(gdstk.Label('Lumerical_INTERCONNECT_library=Design kits/EBeam', (15.235,66.42), layer=68, texttype=0))
waveguide_7.add(gdstk.Label('Component=ebeam_wg_integral_1550', (15.235,66.62), layer=68, texttype=0))
waveguide_7.add(gdstk.Label('Length=250.247u', (15.235,66.32), layer=68, texttype=0))

mzi3 = lib.new_cell('MZI3')
mzi3.add(gdstk.Reference(ebeam_gc_te1550, (0.435,-63.23)))
mzi3.add(gdstk.Reference(ebeam_y_1550, (7.835,63.77)))
mzi3.add(gdstk.Reference(ebeam_y_1550, (7.835,-63.23)))
mzi3.add(gdstk.Reference(ebeam_gc_te1550, (0.435,63.77)))
mzi3.add(gdstk.Reference(waveguide_4, (267.585,-129.1)))
mzi3.add(gdstk.Reference(waveguide_7, (0,0)))
mzi3.add(gdstk.Label('opt_in_TE_1550_device_praneethkarempudi_MZI3', (0.385,63.6), layer=10, texttype=0))

lib.write_gds('MZI3.gds')
